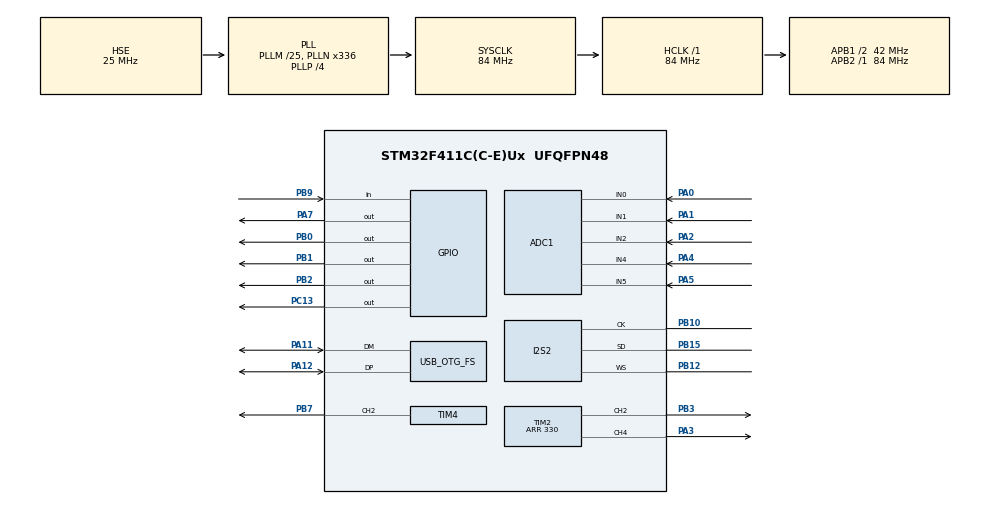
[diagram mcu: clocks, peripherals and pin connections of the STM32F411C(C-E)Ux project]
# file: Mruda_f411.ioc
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ADC1.Channel-0\#ChannelRegularConversion=ADC_CHANNEL_0
ADC1.Channel-1\#ChannelRegularConversion=ADC_CHANNEL_1
ADC1.Channel-2\#ChannelRegularConversion=ADC_CHANNEL_2
ADC1.Channel-3\#ChannelRegularConversion=ADC_CHANNEL_5
ADC1.ContinuousConvMode=ENABLE
ADC1.DMAContinuousRequests=ENABLE
ADC1.NbrOfConversion=4
ADC1.NbrOfConversionFlag=1
ADC1.Rank-0\#ChannelRegularConversion=1
ADC1.Rank-1\#ChannelRegularConversion=2
ADC1.Rank-2\#ChannelRegularConversion=3
ADC1.Rank-3\#ChannelRegularConversion=4
ADC1.SamplingTime-0\#ChannelRegularConversion=ADC_SAMPLETIME_3CYCLES
ADC1.SamplingTime-1\#ChannelRegularConversion=ADC_SAMPLETIME_3CYCLES
ADC1.SamplingTime-2\#ChannelRegularConversion=ADC_SAMPLETIME_3CYCLES
ADC1.SamplingTime-3\#ChannelRegularConversion=ADC_SAMPLETIME_28CYCLES
ADC1.master=1
Dma.ADC1.1.Direction=DMA_PERIPH_TO_MEMORY
Dma.ADC1.1.FIFOMode=DMA_FIFOMODE_DISABLE
Dma.ADC1.1.Instance=DMA2_Stream0
Dma.ADC1.1.MemDataAlignment=DMA_MDATAALIGN_HALFWORD
Dma.ADC1.1.MemInc=DMA_MINC_ENABLE
Dma.ADC1.1.Mode=DMA_CIRCULAR
Dma.ADC1.1.PeriphDataAlignment=DMA_PDATAALIGN_HALFWORD
Dma.ADC1.1.PeriphInc=DMA_PINC_DISABLE
Dma.ADC1.1.Priority=DMA_PRIORITY_LOW
Dma.Request0=SPI2_TX
Dma.Request1=ADC1
Dma.SPI2_TX.0.Direction=DMA_MEMORY_TO_PERIPH
Dma.SPI2_TX.0.FIFOMode=DMA_FIFOMODE_DISABLE
Dma.SPI2_TX.0.Instance=DMA1_Stream4
Dma.SPI2_TX.0.MemDataAlignment=DMA_MDATAALIGN_HALFWORD
Dma.SPI2_TX.0.MemInc=DMA_MINC_ENABLE
Dma.SPI2_TX.0.Mode=DMA_CIRCULAR
Dma.SPI2_TX.0.PeriphDataAlignment=DMA_PDATAALIGN_HALFWORD
Dma.SPI2_TX.0.PeriphInc=DMA_PINC_DISABLE
Dma.SPI2_TX.0.Priority=DMA_PRIORITY_HIGH
I2S2.AudioFreq=I2S_AUDIOFREQ_22K
I2S2.ErrorAudioFreq=0.0 %
I2S2.FullDuplexMode=I2S_FULLDUPLEXMODE_DISABLE
I2S2.Instance=SPI$Index
I2S2.RealAudioFreq=22.0 KHz
I2S2.Standard=I2S_STANDARD_MSB
I2S2.VirtualMode=I2S_MODE_MASTER
Mcu.Family=STM32F4
Mcu.Name=STM32F411C(C-E)Ux
Mcu.Package=UFQFPN48
NVIC.DMA1_Stream4_IRQn=true\:0\:0\:false\:false\:true\:false\:true\:true
NVIC.DMA2_Stream0_IRQn=true\:0\:0\:false\:false\:true\:false\:true\:true
NVIC.OTG_FS_IRQn=true\:0\:0\:false\:false\:true\:false\:true\:true
NVIC.PriorityGroup=NVIC_PRIORITYGROUP_4
PA0-WKUP.Signal=ADCx_IN0
PA1.Signal=ADCx_IN1
PA11.Mode=Device_Only
PA11.Signal=USB_OTG_FS_DM
PA12.Mode=Device_Only
PA12.Signal=USB_OTG_FS_DP
PA2.Signal=ADCx_IN2
PA3.Signal=S_TIM2_CH4
PA4.Signal=ADCx_IN4
PA5.Signal=ADCx_IN5
PA7.Signal=GPIO_Output
PB0.Signal=GPIO_Output
PB1.Signal=GPIO_Output
PB10.Mode=Half_Duplex_Master
PB10.Signal=I2S2_CK
PB12.Mode=Half_Duplex_Master
PB12.Signal=I2S2_WS
PB15.Mode=Half_Duplex_Master
PB15.Signal=I2S2_SD
PB2.Signal=GPIO_Output
PB3.Signal=S_TIM2_CH2
PB6.Signal=S_TIM4_CH1
PB7.Signal=S_TIM4_CH2
PB9.GPIO_PuPd=GPIO_PULLUP
PB9.Signal=GPIO_Input
PC13-ANTI_TAMP.Signal=GPIO_Output
PH0\ -\ OSC_IN.Mode=HSE-External-Oscillator
PH0\ -\ OSC_IN.Signal=RCC_OSC_IN
PH1\ -\ OSC_OUT.Mode=HSE-External-Oscillator
PH1\ -\ OSC_OUT.Signal=RCC_OSC_OUT
ProjectManager.HeapSize=0x200
ProjectManager.StackSize=0x400
ProjectManager.TargetToolchain=STM32CubeIDE
RCC.48MHZClocksFreq_Value=48000000
RCC.AHBFreq_Value=84000000
RCC.APB1CLKDivider=RCC_HCLK_DIV2
RCC.APB1Freq_Value=42000000
RCC.APB1TimFreq_Value=84000000
RCC.APB2Freq_Value=84000000
RCC.APB2TimFreq_Value=84000000
RCC.CortexFreq_Value=84000000
RCC.HCLKFreq_Value=84000000
RCC.HSE_VALUE=25000000
RCC.HSI_VALUE=16000000
RCC.LSE_VALUE=32768
RCC.PLLI2SM=25
RCC.PLLI2SN=176
RCC.PLLM=25
RCC.PLLN=336
RCC.PLLP=RCC_PLLP_DIV4
RCC.PLLQ=7
RCC.SYSCLKFreq_VALUE=84000000
RCC.SYSCLKSource=RCC_SYSCLKSOURCE_PLLCLK
RCC.VCOOutputFreq_Value=336000000
SH.ADCx_IN0.0=ADC1_IN0,IN0
SH.ADCx_IN1.0=ADC1_IN1,IN1
SH.ADCx_IN2.0=ADC1_IN2,IN2
SH.ADCx_IN4.0=ADC1_IN4,IN4
SH.ADCx_IN5.0=ADC1_IN5,IN5
SH.S_TIM2_CH2.0=TIM2_CH2,PWM Generation2 CH2
SH.S_TIM2_CH4.0=TIM2_CH4,PWM Generation4 CH4
SH.S_TIM4_CH1.0=TIM4_CH1
SH.S_TIM4_CH2.0=TIM4_CH2,PWM Generation2 CH2
TIM2.Channel-PWM\ Generation2\ CH2=TIM_CHANNEL_2
TIM2.Channel-PWM\ Generation4\ CH4=TIM_CHANNEL_4
TIM2.Period=330
TIM2.Pulse-PWM\ Generation4\ CH4=165
TIM3.AutoReloadPreload=TIM_AUTORELOAD_PRELOAD_ENABLE
TIM3.Prescaler=83
TIM4.AutoReloadPreload=TIM_AUTORELOAD_PRELOAD_ENABLE
TIM4.Channel-PWM\ Generation2\ CH2=TIM_CHANNEL_2
TIM4.Period=840
TIM4.Pulse-PWM\ Generation2\ CH2=420
USB_DEVICE.CLASS_NAME_FS=HID
USB_DEVICE.VirtualMode=Hid
USB_DEVICE.VirtualModeFS=Hid_FS
USB_OTG_FS.VirtualMode=Device_Only
VP_TIM2_VS_ClockSourceINT.Mode=Internal
VP_TIM3_VS_ClockSourceINT.Mode=Internal
VP_USB_DEVICE_VS_USB_DEVICE_HID_FS.Mode=HID_FS
board=custom

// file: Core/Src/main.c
/* USER CODE BEGIN Header */
/**
  ******************************************************************************
  * @file           : main.c
  * @brief          : Main program body
  ******************************************************************************
  * @attention
  *
  * Copyright (c) 2025 STMicroelectronics.
  * All rights reserved.
  *
  * This software is licensed under terms that can be found in the LICENSE file
  * in the root directory of this software component.
  * If no LICENSE file comes with this software, it is provided AS-IS.
  *
  ******************************************************************************
  */
/* USER CODE END Header */
#include "main.h"
#include "usb_device.h"

/* USER CODE BEGIN Includes */
#include "usbd_hid.h"
#include "math.h"
#include "tm1637.h"
#include <stdio.h>
/* USER CODE END Includes */

ADC_HandleTypeDef hadc1;
DMA_HandleTypeDef hdma_adc1;

I2S_HandleTypeDef hi2s2;
DMA_HandleTypeDef hdma_spi2_tx;

TIM_HandleTypeDef htim2;
TIM_HandleTypeDef htim3;
TIM_HandleTypeDef htim4;

/* USER CODE BEGIN PV */

extern USBD_HandleTypeDef hUsbDeviceFS;
//to do
// implement preset sounds and paramater to preset only <-------5
// apply sustin function user config  <--------3 done
// apply midi  <--------4
// add timber variation as pressure increases   <--------1 cancell
// dedicated and fixed sound/table for tanpura sound    <--------2 done
// volume button:      <-------done
//autoreack :    <----- done (remove function key weird noise bug)

//modification made
// only one sample for measure touch poition, eliminated strange sound while
// quickly releasing any key
// scanning stra

//parameters

float p_volume= 0.00005;
float vol_knob=0;

float p_expo= 1.35;
float p_expo_val[5]={1.1,1.25,1.34,1.55,1.7};
int8_t p_expo_ind=3;
uint8_t p_transpose=0;
float p_tune=0;

#define SAMPLE_RATE 22007  // Sample rate (Hz)
#define TWOPI       360.0f
#define BUFFER_SIZE 512

#define S0_pin GPIO_PIN_2
#define S0_port GPIOB

#define S1_pin GPIO_PIN_1
#define S1_port GPIOB

#define S2_pin GPIO_PIN_0
#define S2_port GPIOB

#define S3_pin GPIO_PIN_7
#define S3_port GPIOA

#define poly_phony 3
#define phase_v 0.0163257146

const float preset[1][20]={
{0.15,0.15,0.1,0.1,0.07,  0.03,0.015,0.02,0.005,  0.01,0,0.005,0,0.005,  0,0.005,0,0,0,0}
};
uint8_t preset_sel=1;

const float drone_vol_lookup[11] = {
    0.0000, // x = 0
    0.0059, // x = 1
    0.0167, // x = 2
    0.0311, // x = 3
    0.0485, // x = 4
    0.0685, // x = 5
    0.0907, // x = 6
    0.1147, // x = 7
    0.1404, // x = 8
    0.1676, // x = 9
    0.3000  // x = 10
};

float f1 =138.0 ;
float vol[5], vol_old[5];
float PHASE_INC[5] ={0.40896,0.40896,0.40896,0.40896,0.40896};

//base wave generation
int16_t sine_data[721];
int16_t sine_data_tanpura[721];
float amp[25];

volatile float pval=0;
volatile float feedback=0.2;

float p[5] = {0.0f,0.0f,0.0f,0.0f,0.0f};
volatile uint64_t t1,t2,t3,dt;

int16_t buffer0[BUFFER_SIZE];
int8_t data_ready_flag=0;

uint16_t adc_dma_buffer[16];
uint16_t adc_val[20];
uint16_t adc1_val[8];
uint16_t adc2_val[8];
uint16_t adc3_val[8];

float touch[50],touch_cal[50],touch_p[50];

//drone related
uint16_t drone_t=0;
float drone_sa=0;
float drone_pa=0;
float drone_vol=0.04;
int8_t drone_vol_level=5;
float drone_vol_raw=0.0;
float drone_sa_key=27;
float drone_pa_key=22;

float drone_sa_freq=0;
float drone_pa_freq=0;

float transpose=0;
float f_tune=0;
float octave=0;

uint8_t drone_flag=0;
uint8_t snap_flag=0;

uint8_t function_flag;
uint16_t function_t;
//temp variable

int8_t touch_flag[poly_phony], touch_flag_old[poly_phony], release_flag[poly_phony], mux_sel;
int8_t mux_inc=1;

float touch_position[poly_phony],touch_position_old[poly_phony];
float touch_amp[poly_phony],touch_amp_old[poly_phony];

float key[poly_phony], key_refined[poly_phony],key_snap[poly_phony],key_snap_pos[poly_phony];
float key_freq[poly_phony], key_diff[poly_phony], key_play[poly_phony],key_play_old[poly_phony], key_play_freq[poly_phony];
float key_trans[poly_phony];
float key_out[poly_phony];

uint8_t peak[3];
float peak_amp[3];
float peak_pos[3];
float peak_pos_old[3];
float peak_pos_track[3];
float peak_amp_track[3];

uint32_t seed = 1234;
float rand_f=0;

//sound table gen
float ST_expo=0;
float ST_expo_val[10]={0,-0.2,-0.6,-0.8,-1,-1.2,-1.4,-1.6,-1.8,-2};
uint8_t ST_exp_ind=0;

float OE_dist=1;
float OE_dist_val[10]={4,3,2.5,2,1.5,1,0.66,0.5,0.2,0.33};
uint8_t OE_dist_ind=5;

float octave_mix=0;
float octave_mix_val[10]={0,15,30,45,60,75,90,105,120,135};
uint8_t octave_mix_ind=0;

int16_t reverb_buf[4001];
float reverb_weight[8]={0.2,0.18,0.15,0.13,0.11,0.09,0.07,0.05};
int32_t reverb_ind=0;

float reverb_val[10]={0,0.03,0.1,0.171,0.273,0.39,0.523,0.669,0.83,0.98};
float reverb_val1,reverb_val2;
int16_t reverb_user_ind=4;

float snap_flag_val[5]={0,0.002,0.005,0.01,0.02};
float snap_flag_multiplier;

// --- All-pass filter setup ---
#define AP1_DELAY 117
#define AP2_DELAY 73
#define AP_GAIN   0.7f

int16_t ap_buf1[AP1_DELAY] = {0};
int16_t ap_buf2[AP2_DELAY] = {0};
int ap_idx1 = 0, ap_idx2 = 0;
float ap_last1 = 0, ap_last2 = 0;

int8_t midi_flag=0;
int16_t midi_snap, midi_pres, midi_key_status;
float midi_bend;
uint8_t midi1_vol;

//autitune
float smoothed_play[3] = {0};
float key_error[3];

float t_samp_old;
//temp
float t_max=0;
volatile uint32_t sysclk_freq = 0;
volatile uint32_t hclk_freq = 0;
volatile uint32_t pclk1_freq = 0;
volatile uint32_t pclk2_freq = 0;
volatile uint32_t i2s_clock_freq = 0;
float temp_amp[25];

/* USER CODE END PV */

void SystemClock_Config(void);
static void MX_GPIO_Init(void);
static void MX_DMA_Init(void);
static void MX_ADC1_Init(void);
static void MX_I2S2_Init(void);
static void MX_TIM2_Init(void);
static void MX_TIM3_Init(void);
static void MX_TIM4_Init(void);
/* USER CODE BEGIN PFP */

void set_mux(uint8_t ch) {
    if (ch > 15) return;

    HAL_GPIO_WritePin(S0_port, S0_pin, (ch >> 0) & 0x01);
    HAL_GPIO_WritePin(S1_port, S1_pin, (ch >> 1) & 0x01);
    HAL_GPIO_WritePin(S2_port, S2_pin, (ch >> 2) & 0x01);
    HAL_GPIO_WritePin(S3_port, S3_pin, (ch >> 3) & 0x01);
}

float rand_float(void) {
	seed = 1664525 * seed + 1013904223;

	    // Map 31-bit int to float in [-1.0, 1.0]
	    int32_t signed_val = (int32_t)(seed >> 1); // 31-bit signed int
	    // Multiply by precomputed constant
	    return signed_val * 0.00000000093132257f; // ≈ 1 / (2^30 - 1)
}

int rand_int_16(void) {
    seed = 1664525 * seed + 1013904223;

    // Take lower 5 bits (0 to 31)
    int val = (int)(seed & 0x1F);  // 0 to 31
    return val - 16;                // -16 to 15
}

//-------------------------MIDI functions-----------------------------

void send_usb_midi_packet(uint8_t cin, uint8_t status, uint8_t data1, uint8_t data2) {
    uint8_t packet[4];
    packet[0] = (0x0 << 4) | (cin & 0x0F);  // Cable #0 + CIN
    packet[1] = status;
    packet[2] = data1;
    packet[3] = data2;
    USBD_HID_SendReport(&hUsbDeviceFS, packet, 4);
}

void midi_note_on(uint8_t note, uint8_t velocity) {
    send_usb_midi_packet(0x9, 0x90, note, velocity);  // CIN 0x9 = Note On
}

void midi_note_off(uint8_t note, uint8_t velocity) {
    send_usb_midi_packet(0x8, 0x80, note, velocity);  // CIN 0x8 = Note Off
}

void midi_pitch_bend(float semitones) {
    if (semitones > 12.0f) semitones = 12.0f;
    if (semitones < -12.0f) semitones = -12.0f;

    int32_t bend = 8192 + (int32_t)((semitones / 12.0f) * 8192.0f);
    if (bend < 0) bend = 0;
    if (bend > 16383) bend = 16383;

    uint8_t lsb = bend & 0x7F;
    uint8_t msb = (bend >> 7) & 0x7F;

    send_usb_midi_packet(0xE, 0xE0, lsb, msb);  // CIN 0xE = Pitch Bend
}

void midi_pressure(uint8_t note, uint8_t pressure) {
    send_usb_midi_packet(0xA, 0xA0, note, pressure);  // CIN 0xA = Poly Pressure
}
//---------------------------------------------------------------

void set_freq(){

	for(uint8_t i=0;i<3;i++){
		if(touch_flag[i]==1 && snap_flag>0){
			key[i]=peak_pos[i]+21-0.5; //sensing plate not on senter so 0.5
			key_trans[i]=key[i]+f_tune+transpose+octave;

			if(touch_flag_old[i]==0){
				key_snap[i]=round(key[i]); // only for functions
				smoothed_play[i]=0;
				key_error[i]=0;
			}

			//auto correct
			//if(smoothed_play[i]>0.5){smoothed_play[i]=0.5;}
			key_play[i]=key_trans[i]+smoothed_play[i];
			key_error[i]=key_play[i]-round(key_trans[i]);
			smoothed_play[i]-=snap_flag_multiplier*key_error[i];
			//if(key_error[i]<0.01){key_error[i]=0;}

			key_play[i]=0.95*key_play[i]+0.05*key_play_old[i];
			key_play_old[i]=key_play[i];

			key_play[i] = 440.0f * powf(1.0594630f, (key_play[i] - 48));
			PHASE_INC[i] =phase_v * key_play[i];
		}

		if(touch_flag[i]==1 && snap_flag==0){
					key_snap[i]=round(key[i]); // for function detect
					key[i]=peak_pos[i]+21-0.5; //sensing plate not on senter so 0.5

					key_play[i]=key[i]+f_tune+transpose+octave;
					//key_play[i]=key_play[i]*(1+0.001*rand_float());

					key_out[i]=key_play[i];
					key_play[i]=0.95*key_play[i]+0.05*key_play_old[i];

					key_play_old[i]=key_play[i];

					key_play[i] = 440.0f * powf(1.0594630f, (key_play[i] - 48));
					PHASE_INC[i] =phase_v * key_play[i];
				}
	}

	if(touch_flag[2]==1 && touch_flag_old[2]==0  && midi_key_status==0){
		midi_snap=21+round(key_out[2]);
	}
	if(touch_flag[2]==1 && midi_key_status==1){
		midi_bend=21+key_out[2]-(float)midi_snap;
	}

	if(midi_flag==1){
		float vol = touch_amp[2]*500.0;
		if (vol > 127) {vol = 127;}
		midi1_vol = (uint8_t)vol;

		if(touch_flag[2]==1 && touch_flag_old[2]==0 && midi_key_status==0){
			uint16_t vol= touch_amp[2]*500;
			midi_note_on(midi_snap,vol);
			midi_key_status=1;
		}

		if(touch_flag[2]==0 && touch_flag_old[2]==1 && midi_key_status==1){
			uint16_t vol= touch_amp[2]*500;
			midi_note_off(midi_snap, vol);
			midi_key_status=0;
		}

		if(touch_flag[2]==1){
			midi_pitch_bend(midi_bend);
			midi_pressure(midi_snap, vol);
		}
	}
}

/* USER CODE END PFP */

/* USER CODE BEGIN 0 */

//Fast sine calculation function
float sine (float angle)
  {
    int angle_int;
    angle=2.0*angle;
    angle_int=angle;
    return (sine_data[angle_int]);
  }

float sine_t (float angle)
  {
    int angle_int;
    angle=2.0*angle;
    angle_int=angle;
    return (sine_data_tanpura[angle_int]);
  }

//below two function provides arduino micros() equivalent
void DWT_Delay_Init(void) {
    CoreDebug->DEMCR |= CoreDebug_DEMCR_TRCENA_Msk;  // Enable DWT
    DWT->CYCCNT = 0;  // Reset counter
    DWT->CTRL |= DWT_CTRL_CYCCNTENA_Msk;  // Enable cycle counter
}

uint32_t micros(void) {
    uint32_t cycles = DWT->CYCCNT;
    return (uint32_t)((uint64_t)cycles * 1000000ULL / SystemCoreClock);
}

//to fill required buffer in ping pong way
void fill_buffer0(int16_t *buff, uint16_t size){

    t1=micros();
    for (int i=0; i < size; i+=2) {

    	for(uint8_t i=0;i<3;i++){
    		vol[i]=0.1f*vol[i]+0.9f*vol_old[i];
    		vol_old[i]=vol[i];
    	}

    	vol[3]=0.004f*vol[3]+0.996f*vol_old[3];
    	vol_old[3]=vol[3];

    	vol[4]=0.004f*vol[4]+0.996f*vol_old[4];
    	vol_old[4]=vol[4];

	   float t_samp_rev=	vol[0]*sine(p[0])+
							vol[1]*sine(p[1])+
							vol[2]*sine(p[2]);

	   float t_samp=	t_samp_rev+
						vol[3]*sine_t(p[3])+
						vol[4]*sine_t(p[4]);

        // Increment and wrap phase
        p[0] += PHASE_INC[0];
			if (p[0] >= TWOPI)
				p[0] -= TWOPI;

        p[1] += PHASE_INC[1];
            if (p[1] >= TWOPI)
            	p[1] -= TWOPI;

        p[2] += PHASE_INC[2];
            if (p[2] >= TWOPI)
            	p[2] -= TWOPI;

        p[3] += PHASE_INC[3];
            if (p[3] >= TWOPI)
                p[3] -= TWOPI;

        p[4] += PHASE_INC[4];
            if (p[4] >= TWOPI)
                p[4] -= TWOPI;

            //rand_f=rand_float();
        //buff[i] = (int16_t)t_samp;

            reverb_buf[reverb_ind] = (int16_t)t_samp_rev;

            //revern using prime samples to avoid ringing
            int16_t rev_delay_chan[8]={503,1079,1499,2111,2503,3067,3547,3989};
            int16_t rev_delay_ind=0;
            float rev_sample=0;

            for(int i=0;i<8;i++){
            	rev_delay_ind= reverb_ind-rev_delay_chan[i];
            	if(rev_delay_ind<0){rev_delay_ind=rev_delay_ind+4000;}
            	rev_sample+=(float)reverb_buf[rev_delay_ind];
            }
            rev_sample=rev_sample*0.125f;

            reverb_ind++;
            if(reverb_ind>=4000){reverb_ind=0;}

            float input_sample=rev_sample;
//            // --- First all-pass filter ---
            float ap_delayed1 = (float)ap_buf1[ap_idx1];
            float ap_output1 = -AP_GAIN * input_sample + ap_delayed1 + AP_GAIN * ap_last1;
            ap_buf1[ap_idx1] = (int16_t)input_sample;
            ap_idx1 = (ap_idx1 + 1) % AP1_DELAY;
            ap_last1 = ap_output1;

            // --- Second all-pass filter ---
//            float ap_delayed2 = (float)ap_buf2[ap_idx2];
//            float ap_output2 = -AP_GAIN * ap_output1 + ap_delayed2 + AP_GAIN * ap_last2;
//            ap_buf2[ap_idx2] = (int16_t)ap_output1;
//            ap_idx2 = (ap_idx2 + 1) % AP2_DELAY;
//            ap_last2 = ap_output2;

            // --- Store diffused signal in reverb buffer ---

           // reverb_buf[reverb_ind]= (int16_t)t_samp_rev;

            rev_sample=ap_output1;

        // its only working on stereo mode, so copying to every other value

            //final buffers
            t_samp=reverb_val2* t_samp+reverb_val1*rev_sample;
            buff[i] = (int16_t)t_samp;
            buff[i+1] = buff[i];

    }
    t2=micros();
}

void HAL_I2S_TxHalfCpltCallback(I2S_HandleTypeDef *hi2s) {

    fill_buffer0(buffer0, BUFFER_SIZE / 2);  // Fill first half
}

void HAL_I2S_TxCpltCallback(I2S_HandleTypeDef *hi2s) {
    fill_buffer0(buffer0 + BUFFER_SIZE/2, BUFFER_SIZE / 2);  // Fill second half

}

void HAL_ADC_ConvCpltCallback(ADC_HandleTypeDef* hadc){

	for(int i=0;i<16;i++){
	adc_val[i]=adc_dma_buffer[i];
	}

//	for(int i=0;i<5;i++){
//		adc1_val[i]=adc_dma_buffer[i*4];
//		adc2_val[i]=adc_dma_buffer[4*i+1];
//		adc2_val[i]=adc_dma_buffer[4*i+2];
//	}
}

void amp_setup(){

	float total_amp=0;

	for(int k=0;k<20;k++){
		amp[k+1]=preset[0][k];

	}

	//expo evelope
	for(int i=0;i<20;i++){
		amp[i+1]=amp[i+1]*powf(i+1,ST_expo);
	}

	//OE_dist=1.1;
	for(int i=1;i<11;i++){
	    amp[2*i] = amp[2*i] * OE_dist;     // Even harmonic gets boosted
	    amp[2*i-1]  = amp[2*i-1] / OE_dist;     // Odd harmonic gets reduced
	}

	//octave_mix=50;
	for(int i=0;i<19;i++){
		amp[i+1]=amp[i+1]+(octave_mix/100)*amp[i+2];
		amp[i+1]=amp[i+1]*(1.0f + cosf( 3.141592f* (i+1) / 20));
	}

	// normalising amplitudes
	for(int i=0;i<20;i++){
		total_amp=total_amp+amp[i+1];
	}

	for(int i=0;i<20;i++){
	    		amp[i+1]=amp[i+1]/total_amp;
	    	}

	for(int i=0;i<20;i++){
		temp_amp[i+1]=amp[i+1];
	}

}

void Creat_sine_table(int16_t* sin_table, uint8_t preset_type){
	//generate a base waveform that is combination of its harmonics

	//creating table
    for(int i=0;i<721;i++)
      {	float temp1;
      	float temp_data=720;
      	temp_data=6.2831853/temp_data;

    	temp1=  amp[1]*sinf(1*i*temp_data)	+amp[2]*sinf(2*i*temp_data)+
    			amp[3]*sinf(3*i*temp_data)	+amp[4]*sinf(4*i*temp_data)+
				amp[5]*sinf(5*i*temp_data)	+amp[6]*sinf(6*i*temp_data)+
				amp[7]*sinf(7*i*temp_data)	+amp[8]*sinf(8*i*temp_data)+
				amp[9]*sinf(9*i*temp_data)	+amp[10]*sinf(10*i*temp_data)+
				amp[11]*sinf(11*i*temp_data)	+amp[12]*sinf(12*i*temp_data)+
				amp[13]*sinf(13*i*temp_data)	+amp[14]*sinf(14*i*temp_data)+
				amp[15]*sinf(15*i*temp_data)	+amp[16]*sinf(16*i*temp_data)+
				amp[17]*sinf(17*i*temp_data)	+amp[18]*sinf(18*i*temp_data)+
				amp[19]*sinf(19*i*temp_data)	+amp[20]*sinf(20*i*temp_data);
    	//0.1*3.14159265/180=0.00174532925

      //temp1=sin(i*0.1*3.14159265/180);
      //sine_data[i]=temp1*32767.0f;
    	sin_table[i]=(int)(temp1 * 32000.0f);

      //set_freq();
      };
}

float parabolic_fit(uint8_t index){

	float y0 = touch_p[index - 1];
	float y1 = touch_p[index];
	float y2 = touch_p[index + 1];

	    touch_amp[0]=y0+y1+y2;
	    float denominator = 2.0f * (y0 - 2.0f * y1 + y2);
	    float delta = (y0 - y2) / denominator;
	    delta=delta+(float)index;

	    return delta;
}

void touch_estimate()
{
	for(int i=0;i<48;i++){
		touch_p[i]=touch[i]-touch_cal[i]+20;
	}

	uint8_t temp_indice=0;

	for(uint8_t i=1;i<47;i++){
		if(touch_p[i-1]<touch_p[i] && touch_p[i+1]<touch_p[i] && touch_p[i]>160)
		{

			peak[temp_indice]=i;
			peak_amp[temp_indice]=touch_p[i]+touch_p[i-1]+touch_p[i+1];
			peak_pos[temp_indice]=parabolic_fit(i);
			temp_indice++;
			if(temp_indice==3){break;}
		}
	}

	float midi_amp1, midi_pos1;
	if(midi_flag==1){
		midi_amp1=peak_amp[0];
		midi_pos1=peak_pos[0];
		peak_amp[1]=0;
		peak_amp[2]=0;
	}

	for (uint8_t k = temp_indice; k < 3; k++) {
	    peak_pos[k] = 0;
	    peak_amp[k] = 0;
	}

	//track

	uint8_t used_new[3] = {0};   // Tracks which new peaks were matched
	uint8_t used_old[3] = {0};   // Tracks which old peaks were matched

	for (uint8_t i = 0; i < 3; i++) {
	    for (uint8_t j = 0; j < 3; j++) {
	        float diff = fabsf(peak_pos_old[i] - peak_pos[j]);
	        if (diff < 0.75f && !used_old[i] && !used_new[j]) {
	            peak_pos_track[i] = peak_pos[j];
	            peak_amp_track[i] = peak_amp[j];
	            used_old[i] = 1;
	            used_new[j] = 1;
	            break;
	        }
	    }
	}

	// Second pass: Fill in unmatched old indices with any unused new values
	for (uint8_t i = 0; i < 3; i++) {
	    if (!used_old[i]) {
	        for (uint8_t j = 0; j < 3; j++) {
	            if (!used_new[j]) {
	                peak_pos_track[i] = peak_pos[j];
	                peak_amp_track[i] = peak_amp[j];
	                used_old[i] = 1;
	                used_new[j] = 1;
	                break;
	            }
	        }
	    }
	}

	// Update peak_pos and peak_pos_old for next frame
	for (uint8_t i = 0; i < 3; i++) {
	    peak_pos[i] = peak_pos_track[i];
	    peak_amp[i] = peak_amp_track[i];
	    peak_pos_old[i] = peak_pos[i];

	    touch_flag_old[i]=touch_flag[i];
	    if(peak_pos[i]!=0){touch_flag[i]=1;}
	    else {touch_flag[i]=0;}
	}

// track ends

	if(midi_flag==1){
		peak_amp[2]=midi_amp1;
		peak_pos[2]=midi_pos1;
		peak_amp[1]=0;
		peak_amp[0]=0;
		peak_pos[1]=0;
		peak_pos[0]=0;
	}

	//touch position filer
	// amplitude fikter

	for(int i=0;i<3;i++){

		peak_pos[i]=0.5*peak_pos[i];

		//touch amplitude
		touch_amp[i]=peak_amp[i];
		    touch_amp[i]=touch_amp[i]*p_volume;
		    if(touch_amp[i]<0){touch_amp[i]=0;}
		    touch_amp[i]=powf(touch_amp[i],p_expo);

		    //filter
		    touch_amp[i]=0.8*touch_amp[i]+0.2*touch_amp_old[i];
		    vol[i]=touch_amp[i];

		    touch_amp_old[i]=touch_amp[i];

	}

	HAL_GPIO_WritePin(GPIOC, GPIO_PIN_13, !(touch_flag[0] || touch_flag[1] || touch_flag[2]));
}

void function_set(){

	//Drone on Off
	static uint8_t drone_latched = 0;
	if(function_flag==1 && key_snap[2]==43 && touch_amp[2]>0.02)
	{
		if (!drone_latched) {
			drone_flag = !drone_flag;
			drone_latched = 1;
			if(drone_flag==1){TM1637_SetColon(1);TM1637_DisplayString("drON");}
			if(drone_flag==0){TM1637_SetColon(1);TM1637_DisplayString("drOF");}
		}
	}
	else {drone_latched = 0;}

	//drone volume up
	static uint8_t drone_volp = 0;
	if(function_flag==1 && key_snap[2]==42 && touch_amp[2]>0.02)
	{
		if (!drone_volp) {

			drone_vol_level++;
			if(drone_vol_level>10){drone_vol_level=10;}
			drone_vol_raw=drone_vol_lookup[drone_vol_level];
			drone_vol=drone_vol_raw;

			char drone_buffer[8];  // 4 chars + null terminator
			snprintf(drone_buffer, sizeof(drone_buffer), "VO%d", drone_vol_level);
			TM1637_SetColon(1);
			TM1637_DisplayString(drone_buffer);

			drone_volp = 1;
		}
	}
	else {drone_volp = 0;}

	// drone vol down
	static uint8_t drone_voln = 0;
	if(function_flag==1 && key_snap[2]==41 && touch_amp[2]>0.02)
	{
		if (!drone_voln) {

			drone_vol_level--;
			if(drone_vol_level<0){drone_vol_level=0;}
			drone_vol_raw=drone_vol_lookup[drone_vol_level];
			drone_vol=drone_vol_raw;

			char drone_buffer[8];  // 4 chars + null terminator
			snprintf(drone_buffer, sizeof(drone_buffer), "VO%d", drone_vol_level);
			TM1637_SetColon(1);
			TM1637_DisplayString(drone_buffer);

			drone_voln = 1;
		}
	}
	else {drone_voln = 0;}

	//drone scale up
	static uint8_t drone_vscalp = 0;
	if(function_flag==1 && key_snap[2]==40 && touch_amp[2]>0.02)
	{
		if (!drone_vscalp) {

			drone_sa_key=1+drone_sa_key;if(drone_sa_key-27>8){drone_sa_key=8+27;}
			drone_pa_key=1+drone_pa_key;if(drone_pa_key-22>8){drone_pa_key=8+22;}

			drone_pa_freq=440.0f * powf(1.0594630f, (drone_sa_key - 48));
			drone_sa_freq=440.0f * powf(1.0594630f, (drone_pa_key - 48));

			PHASE_INC[3] =phase_v * drone_sa_freq;
		  	PHASE_INC[4] =phase_v * drone_pa_freq;

			int8_t fn_print=(int)drone_sa_key;
			char drone_buffer[8];  // 4 chars + null terminator
			snprintf(drone_buffer, sizeof(drone_buffer), "SC%d", fn_print-27);
			TM1637_SetColon(1);
			TM1637_DisplayString(drone_buffer);

			drone_vscalp = 1;
		}
	}
	else {drone_vscalp = 0;}

	// drone scale down
	static uint8_t drone_vscaln = 0;
	if(function_flag==1 && key_snap[2]==39 && touch_amp[2]>0.02)
	{
		if (!drone_vscaln) {

			drone_sa_key=drone_sa_key-1;if(drone_sa_key-27<-8){drone_sa_key=-8+27;}
			drone_pa_key=drone_pa_key-1;if(drone_pa_key-22<-8){drone_pa_key=-8+22;}

			drone_pa_freq=440.0f * powf(1.0594630f, (drone_sa_key - 48));
			drone_sa_freq=440.0f * powf(1.0594630f, (drone_pa_key - 48));

			PHASE_INC[3] =phase_v * drone_sa_freq;
			PHASE_INC[4] =phase_v * drone_pa_freq;

			int8_t fn_print=(int)drone_sa_key;
			char drone_buffer[8];  // 4 chars + null terminator
			snprintf(drone_buffer, sizeof(drone_buffer), "SC%d", fn_print-27);
			TM1637_SetColon(1);
			TM1637_DisplayString(drone_buffer);

			drone_vscaln = 1;
		}
	}
	else {drone_vscaln = 0;}

	// idewntify midi mode,
	// deactives all calculation related to sound synth,
	// three modes audio, MIDI standrd, MIDI MPE
	static uint8_t midi_s = 0;
	if(function_flag==1 && key_snap[2]==21 && touch_amp[2]>0.02)
	{
		if (!midi_s) {
			midi_flag++;
			if(midi_flag==3){midi_flag=0;}

			TM1637_SetColon(0);
			if(midi_flag==0) {
				HAL_I2S_DMAResume(&hi2s2);
				TM1637_DisplayString("AUd");
			}
			else if(midi_flag==1) {
				HAL_I2S_DMAPause(&hi2s2);
				TM1637_DisplayString("CH01");
			}

			else if(midi_flag==2) {
				TM1637_DisplayString("CH03");
			}
			midi_s = 1;
		}
	}
	else {midi_s = 0;}

	//transpose up
	static uint8_t transpose_u = 0;
	if(function_flag==1 && key_snap[2]==23 && touch_amp[2]>0.02)
	{
		if (!transpose_u) {

			transpose=transpose+1;
			if(transpose>11){transpose=11;}

			int8_t fn_print=(int)transpose;
			char drone_buffer[8];  // 4 chars + null terminator
			snprintf(drone_buffer, sizeof(drone_buffer), "SC%d", fn_print);
			TM1637_SetColon(1);
			TM1637_DisplayString(drone_buffer);

			transpose_u = 1;
		}
	}
	else {transpose_u = 0;}

	//transpose down
	static uint8_t transpose_d = 0;
	if(function_flag==1 && key_snap[2]==22 && touch_amp[2]>0.02)
	{
		if (!transpose_d) {

			transpose=transpose-1;
			if(transpose<-11){transpose=-11;}

			int8_t fn_print=(int)transpose;
			char drone_buffer[8];  // 4 chars + null terminator
			snprintf(drone_buffer, sizeof(drone_buffer), "SC%d", fn_print);
			TM1637_SetColon(1);
			TM1637_DisplayString(drone_buffer);

			transpose_d = 1;
		}
	}
	else {transpose_d = 0;}

	//octave up
	static uint8_t octave_u = 0;
	if(function_flag==1 && key_snap[2]==25 && touch_amp[2]>0.02)
	{
		if (!octave_u) {

			octave=octave+12;
			if(octave>49){octave=48;}

			int8_t fn_print=(int)(octave/12);
			char drone_buffer[8];  // 4 chars + null terminator
			snprintf(drone_buffer, sizeof(drone_buffer), "OC%d", fn_print);
			TM1637_SetColon(1);
			TM1637_DisplayString(drone_buffer);

			octave_u = 1;
		}
	}
	else {octave_u = 0;}

	//octave down
	static uint8_t octave_d = 0;
	if(function_flag==1 && key_snap[2]==24 && touch_amp[2]>0.02)
	{
		if (!octave_d) {

			octave=octave-12;
			if(octave<-25){octave=-25;}

			int8_t fn_print=(int)(octave/12);
			char drone_buffer[8];  // 4 chars + null terminator
			snprintf(drone_buffer, sizeof(drone_buffer), "OC%d", fn_print);
			TM1637_SetColon(1);
			TM1637_DisplayString(drone_buffer);

			octave_d = 1;
		}
	}
	else {octave_d = 0;}

	//tune up
	static uint8_t tune_u = 0;
	if(function_flag==1 && key_snap[2]==27 && touch_amp[2]>0.02)
	{
		if (!tune_u) {

			f_tune=f_tune+0.01;
			drone_sa_key=drone_sa_key+f_tune;
			drone_pa_key=drone_pa_key+f_tune;
			if(f_tune>0.5){f_tune=0.5;}

			int8_t fn_print=(int)(f_tune*100.0f);
			char drone_buffer[8];  // 4 chars + null terminator
			snprintf(drone_buffer, sizeof(drone_buffer), "t%d", fn_print);
			TM1637_SetColon(0);
			TM1637_DisplayString(drone_buffer);

			tune_u = 1;
		}
	}
	else {tune_u = 0;}

	//tune down
	static uint8_t tune_d = 0;
	if(function_flag==1 && key_snap[2]==26 && touch_amp[2]>0.02)
	{
		if (!tune_d) {

			f_tune=f_tune-0.01;
			drone_sa_key=drone_sa_key+f_tune;
			drone_pa_key=drone_pa_key+f_tune;
			if(f_tune<-0.5){f_tune=-0.5;}

			int8_t fn_print=(int)(f_tune*100.0f);
			char drone_buffer[8];  // 4 chars + null terminator
			snprintf(drone_buffer, sizeof(drone_buffer), "t%d", fn_print);
			TM1637_SetColon(0);
			TM1637_DisplayString(drone_buffer);

			tune_d = 1;
		}
	}
	else {tune_d = 0;}

	//sens down
	static uint8_t sens_d = 0;
	if(function_flag==1 && key_snap[2]==29 && touch_amp[2]>0.02)
	{
		if (!sens_d) {

			p_expo_ind--;
			if(p_expo_ind<0){p_expo_ind=0;}
			p_expo=p_expo_val[p_expo_ind];

			int8_t fn_print=(int)(p_expo_ind);
			char drone_buffer[8];  // 4 chars + null terminator
			snprintf(drone_buffer, sizeof(drone_buffer), "SE%d", fn_print);
			TM1637_SetColon(1);
			TM1637_DisplayString(drone_buffer);

			sens_d = 1;
		}
	}
	else {sens_d = 0;}

	//sens up
	static uint8_t sens_u = 0;
	if(function_flag==1 && key_snap[2]==30 && touch_amp[2]>0.02)
	{
		if (!sens_u) {

			p_expo_ind++;
			if(p_expo_ind>4){p_expo_ind=5;}
			p_expo=p_expo_val[p_expo_ind];

			int8_t fn_print=(int)(p_expo_ind);
			char drone_buffer[8];  // 4 chars + null terminator
			snprintf(drone_buffer, sizeof(drone_buffer), "SE%d", fn_print);
			TM1637_SetColon(1);
			TM1637_DisplayString(drone_buffer);

			sens_u = 1;
		}
	}
	else {sens_u = 0;}

	//sound p1 down
		static uint8_t sound_p1_d = 0;
		if(function_flag==1 && key_snap[2]==32 && touch_amp[2]>0.02)
		{
			if (!sound_p1_d) {

				ST_exp_ind--;
				if(ST_exp_ind<0){ST_exp_ind=0;}
				ST_expo=ST_expo_val[ST_exp_ind];
				amp_setup();
				Creat_sine_table(sine_data,0);

				int8_t fn_print=(int)(ST_exp_ind);
				char drone_buffer[8];  // 4 chars + null terminator
				snprintf(drone_buffer, sizeof(drone_buffer), "P1%d", fn_print);
				TM1637_SetColon(1);
				TM1637_DisplayString(drone_buffer);

				sound_p1_d = 1;
			}
		}
		else {sound_p1_d = 0;}

	//sound p1 up
		static uint8_t sound_p1_u = 0;
		if(function_flag==1 && key_snap[2]==33 && touch_amp[2]>0.02)
		{
			if (!sound_p1_u) {

				ST_exp_ind++;
				if(ST_exp_ind>10){ST_exp_ind=10;}
				ST_expo=ST_expo_val[ST_exp_ind];
				amp_setup();
				Creat_sine_table(sine_data,0);

				int8_t fn_print=(int)(ST_exp_ind);
				char drone_buffer[8];  // 4 chars + null terminator
				snprintf(drone_buffer, sizeof(drone_buffer), "P1%d", fn_print);
				TM1637_SetColon(1);
				TM1637_DisplayString(drone_buffer);

				sound_p1_u = 1;
			}
		}
		else {sound_p1_u = 0;}

	//sound p2 down
		static uint8_t sound_p2_d = 0;
		if(function_flag==1 && key_snap[2]==34 && touch_amp[2]>0.02)
		{
			if (!sound_p2_d) {

				OE_dist_ind--;
				if(OE_dist_ind<0){OE_dist_ind=0;}
				OE_dist=OE_dist_val[OE_dist_ind];
				amp_setup();
				Creat_sine_table(sine_data,0);

				int8_t fn_print=(int)(OE_dist_ind);
				char drone_buffer[8];  // 4 chars + null terminator
				snprintf(drone_buffer, sizeof(drone_buffer), "P2%d", fn_print);
				TM1637_SetColon(1);
				TM1637_DisplayString(drone_buffer);

				sound_p2_d = 1;
			}
		}
		else {sound_p2_d = 0;}

	//sound p2 up
		static uint8_t sound_p2_u = 0;
		if(function_flag==1 && key_snap[2]==35 && touch_amp[2]>0.02)
		{
			if (!sound_p2_u) {

				OE_dist_ind++;
				if(OE_dist_ind>10){OE_dist_ind=10;}
				OE_dist=OE_dist_val[OE_dist_ind];
				amp_setup();
				Creat_sine_table(sine_data,0);

				int8_t fn_print=(int)(OE_dist_ind);
				char drone_buffer[8];  // 4 chars + null terminator
				snprintf(drone_buffer, sizeof(drone_buffer), "P2%d", fn_print);
				TM1637_SetColon(1);
				TM1637_DisplayString(drone_buffer);

				sound_p2_u = 1;
			}
		}
		else {sound_p2_u = 0;}

	//sound p3 down
		static uint8_t sound_p3_d = 0;
		if(function_flag==1 && key_snap[2]==36 && touch_amp[2]>0.02)
		{
			if (!sound_p3_d) {

				octave_mix_ind--;
				if(octave_mix_ind<0){octave_mix_ind=0;}
				octave_mix=octave_mix_val[octave_mix_ind];
				amp_setup();
				Creat_sine_table(sine_data,0);

				int8_t fn_print=(int)(octave_mix_ind);
				char drone_buffer[8];  // 4 chars + null terminator
				snprintf(drone_buffer, sizeof(drone_buffer), "P3%d", fn_print);
				TM1637_SetColon(1);
				TM1637_DisplayString(drone_buffer);

				sound_p3_d = 1;
			}
		}
		else {sound_p3_d = 0;}

	//sound p3 up
		static uint8_t sound_p3_u = 0;
		if(function_flag==1 && key_snap[2]==37 && touch_amp[2]>0.02)
		{
			if (!sound_p3_u) {

				octave_mix_ind++;
				if(octave_mix_ind>10){octave_mix_ind=10;}
				octave_mix=octave_mix_val[octave_mix_ind];
				amp_setup();
				Creat_sine_table(sine_data,0);

				int8_t fn_print=(int)(octave_mix_ind);
				char drone_buffer[8];  // 4 chars + null terminator
				snprintf(drone_buffer, sizeof(drone_buffer), "P3%d", fn_print);
				TM1637_SetColon(1);
				TM1637_DisplayString(drone_buffer);

				sound_p3_u = 1;
			}
		}
		else {sound_p3_u = 0;}

		//snap on off
			static uint8_t snap_f = 0;
			if(function_flag==1 && key_snap[2]==28 && touch_amp[2]>0.02)
			{
				if (!snap_f) {

						snap_flag++;
						if(snap_flag>5){snap_flag=0;}
						if(snap_flag !=0){
							snap_flag_multiplier=snap_flag_val[snap_flag];
						}

						int8_t fn_print=(int)(snap_flag);
						char drone_buffer[8];  // 4 chars + null terminator
						snprintf(drone_buffer, sizeof(drone_buffer), "AC%d", fn_print);
						TM1637_SetColon(1);
						TM1637_DisplayString(drone_buffer);

					snap_f = 1;
				}
			}
			else {snap_f = 0;}

			//reverb
			static uint8_t sound_reverb = 0;
			if(function_flag==1 && key_snap[2]==31 && touch_amp[2]>0.02)
			{
				if (!sound_reverb) {

					reverb_user_ind++;
					if(reverb_user_ind>9){reverb_user_ind=0;}
					reverb_val1=reverb_val[reverb_user_ind];
					reverb_val2=1-reverb_val1;

					int8_t fn_print=(int)(1+reverb_user_ind);
					char drone_buffer[8];  // 4 chars + null terminator
					snprintf(drone_buffer, sizeof(drone_buffer), "rE%d", fn_print);
					TM1637_SetColon(1);
					TM1637_DisplayString(drone_buffer);

					sound_reverb = 1;
				}
			}
			else {sound_reverb = 0;}

}

int avg_wo_min_max(int16_t *data, uint8_t len) {
    if (len < 5 || len > 8) return 0;  // invalid input

    int16_t min = data[0];
    int16_t max = data[0];
    int16_t sum = data[0];  // use 32-bit int to avoid overflow

    for (uint8_t i = 1; i < len; i++) {
        if (data[i] < min) min = data[i];
        if (data[i] > max) max = data[i];
        sum += data[i];
    }

    // Remove min and max from the sum
    sum -= min;
    sum -= max;

    // Return integer average of remaining values
    return sum*0.33f;
}

/* USER CODE END 0 */

int main(void)
{

  /* USER CODE BEGIN 1 */

	amp[1]=0.15;	amp[2]=0.15;	amp[3]=0.1;
	amp[4]=0.1; 	amp[5]=0.07;	amp[6]=0.03;
	amp[7]=0.015; 	amp[8]=0.020; 	amp[9]=0.005;
	amp[10]=0.01;	amp[11]=0.;		amp[12]=0.005;
	amp[13]=0.; 	amp[14]=0.005;	amp[15]=0.;
	amp[16]=0.005; 	amp[17]=0.;		amp[18]=0.00;
	amp[19]=0.00;	amp[20]=0.00;

	for(int k=0;k<20;k++){
		amp[k+1]=preset[0][k];
	}
	amp_setup();
	Creat_sine_table(sine_data,0);
	Creat_sine_table(sine_data_tanpura,0);

  /* USER CODE END 1 */

  /* MCU Configuration--------------------------------------------------------*/

  /* Reset of all peripherals, Initializes the Flash interface and the Systick. */
  HAL_Init();

  /* Configure the system clock */
  SystemClock_Config();

  /* Initialize all configured peripherals */
  MX_GPIO_Init();
  MX_DMA_Init();
  MX_ADC1_Init();
  MX_I2S2_Init();
  MX_TIM2_Init();
  MX_TIM3_Init();
  MX_TIM4_Init();
  MX_USB_DEVICE_Init();
  /* USER CODE BEGIN 2 */

  TM1637_Init();
  TM1637_DisplayString("CAL-");
  HAL_Delay(50);
  HAL_TIM_PWM_Start(&htim4, TIM_CHANNEL_2);
  HAL_TIM_Base_Start(&htim3);
  HAL_TIM_PWM_Start(&htim2, TIM_CHANNEL_4);

  __HAL_TIM_SET_COMPARE(&htim2, TIM_CHANNEL_4, 225);

  HAL_ADC_Start_DMA(&hadc1, (uint32_t*)adc_dma_buffer, 16);

  DWT_Delay_Init();

  /* USER CODE END 2 */

  /* Infinite loop */
  /* USER CODE BEGIN WHILE */

  //HAL_I2S_Transmit_DMA(&hi2s2, (uint16_t*)sine_wave, TABLE_SIZE);
   HAL_I2S_Transmit_DMA(&hi2s2, (uint16_t*)buffer0, BUFFER_SIZE);
   mux_sel=5;
   // calibrate data
  HAL_Delay(50);

  for(int j=0;j<10;j++)
  {
 	 for(int i = 0; i < 16; i++){
 		 set_mux(i);HAL_Delay(2);
 		 touch_cal[i]	 =touch_cal[i]+ adc_val[2];
 		 touch_cal[i+16] =touch_cal[i+16]+ adc_val[1];
 		 touch_cal[i+32] =touch_cal[i+32]+ adc_val[0];
 	 }
  }

  for(int i = 0; i < 48; i++){
 	 seed=seed+touch_cal[i];
 	 touch_cal[i]= round(touch_cal[i]/10);
  }

  seed=seed*seed;

  HAL_Delay(50);
  TM1637_SetColon(0);
  TM1637_DisplayString("PLAY");

  drone_pa_freq=440.0f * powf(1.0594630f, (drone_sa_key - 48));
  drone_sa_freq=440.0f * powf(1.0594630f, (drone_pa_key - 48));

  PHASE_INC[3] =phase_v * drone_sa_freq;
  PHASE_INC[4] =phase_v * drone_pa_freq;
  reverb_val1=reverb_val[reverb_user_ind];
  reverb_val2=1-reverb_val1;

   uint32_t last_count = __HAL_TIM_GET_COUNTER(&htim3);

   sysclk_freq = HAL_RCC_GetSysClockFreq();
   hclk_freq = HAL_RCC_GetHCLKFreq();
   pclk1_freq = HAL_RCC_GetPCLK1Freq();
   pclk2_freq = HAL_RCC_GetPCLK2Freq();
   HAL_Delay(10);

  while (1)
  {

	    uint32_t now = __HAL_TIM_GET_COUNTER(&htim3);
	    set_mux(mux_sel);

	    if ((now - last_count) >= 800)
	    {
	        last_count = now;

	        		//meaure
	        	  touch[mux_sel] =  0.25f*(adc_val[2]+adc_val[6]+adc_val[10]+adc_val[14]);
	        	  touch[mux_sel+16]=0.25f*(adc_val[1]+adc_val[5]+adc_val[9]+adc_val[13]);
	        	  touch[mux_sel+32]=0.25f*(adc_val[0]+adc_val[4]+adc_val[8]+adc_val[12]);

//	        	  touch[mux_sel] =  adc_val[2];
//	        	  touch[mux_sel+16]=adc_val[1];
//	        	  touch[mux_sel+32]=adc_val[0];

	        	  //set mux for next measurement
	        	  mux_sel++;
	        	  set_mux(mux_sel);

	        	  //touch detect and tracj after comple scan
	        	  if(mux_sel>15){
	        		  mux_sel=0;

	        	  //touch detect and tracj after comple scan

	        		  touch_estimate();
	        		  vol_knob=(float)adc_val[3];
	        		  vol_knob=vol_knob/4095;
	        		  p_volume= 0.00008*vol_knob;
	        	  }

	        	  //calculates phase inc
	        	  set_freq();
	        	  dt=t2-t1;

	        	  //function key
	        	  if (HAL_GPIO_ReadPin(GPIOB, GPIO_PIN_9) == 0) { // Button pressed
	        	      function_t++;
	        	      if (function_t == 300) {  // Held for 200ms = 500ms if loop runs every 2.5ms (or adjust if 1ms)
	        	          function_flag = 1;   // Set flag once
	        	          TM1637_SetColon(0);
	        	          TM1637_DisplayString("FUNC");
	        	      }
	        	  } else {
	        	      function_t = 0; // Reset counter on release

					  if(function_flag == 1){
						  TM1637_SetColon(0);
						  TM1637_DisplayString("PLAY");}
					  function_flag = 0;
	        	      // Do NOT reset function_flag here if you want it to stay ON
	        	  }

	        	  //run functions
	        	  function_set();

	        	  if(drone_flag==1){
					  drone_t++;
					  if(drone_t>5000){drone_t=0;}
					  if(drone_t>0 && drone_t<600){drone_sa=1;drone_pa=0;}	  if(drone_t==600){drone_sa=0;drone_pa=0;}
					  if(drone_t>1000 && drone_t<1600){drone_sa=0;drone_pa=1;}if(drone_t==1600){drone_sa=0;drone_pa=0;}
					  if(drone_t>2000 && drone_t<2600){drone_sa=0;drone_pa=1;}if(drone_t==2600){drone_sa=0;drone_pa=0;}
					  if(drone_t>3000 && drone_t<3900){drone_sa=1;drone_pa=0;}if(drone_t==3900){drone_sa=0;drone_pa=0;}
					  drone_sa=drone_sa*drone_vol;
					  drone_pa=drone_pa*drone_vol;

					  vol[3]=drone_sa;
					  vol[4]=drone_pa;
	        	  }

	        	  else{
	        		  vol[3]=0;
	        		  vol[4]=0;
	        	  }

	    }

    /* USER CODE END WHILE */

  }
}

void SystemClock_Config(void)
{
  RCC_OscInitTypeDef RCC_OscInitStruct = {0};
  RCC_ClkInitTypeDef RCC_ClkInitStruct = {0};

  /** Configure the main internal regulator output voltage
  */
  __HAL_RCC_PWR_CLK_ENABLE();
  __HAL_PWR_VOLTAGESCALING_CONFIG(PWR_REGULATOR_VOLTAGE_SCALE1);

  /** Initializes the RCC Oscillators according to the specified parameters
  * in the RCC_OscInitTypeDef structure.
  */
  RCC_OscInitStruct.OscillatorType = RCC_OSCILLATORTYPE_HSE;
  RCC_OscInitStruct.HSEState = RCC_HSE_ON;
  RCC_OscInitStruct.PLL.PLLState = RCC_PLL_ON;
  RCC_OscInitStruct.PLL.PLLSource = RCC_PLLSOURCE_HSE;
  RCC_OscInitStruct.PLL.PLLM = 25;
  RCC_OscInitStruct.PLL.PLLN = 336;
  RCC_OscInitStruct.PLL.PLLP = RCC_PLLP_DIV4;
  RCC_OscInitStruct.PLL.PLLQ = 7;
  if (HAL_RCC_OscConfig(&RCC_OscInitStruct) != HAL_OK)
  {
    Error_Handler();
  }

  /** Initializes the CPU, AHB and APB buses clocks
  */
  RCC_ClkInitStruct.ClockType = RCC_CLOCKTYPE_HCLK|RCC_CLOCKTYPE_SYSCLK
                              |RCC_CLOCKTYPE_PCLK1|RCC_CLOCKTYPE_PCLK2;
  RCC_ClkInitStruct.SYSCLKSource = RCC_SYSCLKSOURCE_PLLCLK;
  RCC_ClkInitStruct.AHBCLKDivider = RCC_SYSCLK_DIV1;
  RCC_ClkInitStruct.APB1CLKDivider = RCC_HCLK_DIV2;
  RCC_ClkInitStruct.APB2CLKDivider = RCC_HCLK_DIV1;

  if (HAL_RCC_ClockConfig(&RCC_ClkInitStruct, FLASH_LATENCY_2) != HAL_OK)
  {
    Error_Handler();
  }
}

static void MX_ADC1_Init(void)
{

  ADC_ChannelConfTypeDef sConfig = {0};

  /** Configure the global features of the ADC (Clock, Resolution, Data Alignment and number of conversion)
  */
  hadc1.Instance = ADC1;
  hadc1.Init.ClockPrescaler = ADC_CLOCK_SYNC_PCLK_DIV4;
  hadc1.Init.Resolution = ADC_RESOLUTION_12B;
  hadc1.Init.ScanConvMode = ENABLE;
  hadc1.Init.ContinuousConvMode = ENABLE;
  hadc1.Init.DiscontinuousConvMode = DISABLE;
  hadc1.Init.ExternalTrigConvEdge = ADC_EXTERNALTRIGCONVEDGE_NONE;
  hadc1.Init.ExternalTrigConv = ADC_SOFTWARE_START;
  hadc1.Init.DataAlign = ADC_DATAALIGN_RIGHT;
  hadc1.Init.NbrOfConversion = 4;
  hadc1.Init.DMAContinuousRequests = ENABLE;
  hadc1.Init.EOCSelection = ADC_EOC_SINGLE_CONV;
  if (HAL_ADC_Init(&hadc1) != HAL_OK)
  {
    Error_Handler();
  }

  /** Configure for the selected ADC regular channel its corresponding rank in the sequencer and its sample time.
  */
  sConfig.Channel = ADC_CHANNEL_0;
  sConfig.Rank = 1;
  sConfig.SamplingTime = ADC_SAMPLETIME_3CYCLES;
  if (HAL_ADC_ConfigChannel(&hadc1, &sConfig) != HAL_OK)
  {
    Error_Handler();
  }

  /** Configure for the selected ADC regular channel its corresponding rank in the sequencer and its sample time.
  */
  sConfig.Channel = ADC_CHANNEL_1;
  sConfig.Rank = 2;
  if (HAL_ADC_ConfigChannel(&hadc1, &sConfig) != HAL_OK)
  {
    Error_Handler();
  }

  /** Configure for the selected ADC regular channel its corresponding rank in the sequencer and its sample time.
  */
  sConfig.Channel = ADC_CHANNEL_2;
  sConfig.Rank = 3;
  if (HAL_ADC_ConfigChannel(&hadc1, &sConfig) != HAL_OK)
  {
    Error_Handler();
  }

  /** Configure for the selected ADC regular channel its corresponding rank in the sequencer and its sample time.
  */
  sConfig.Channel = ADC_CHANNEL_5;
  sConfig.Rank = 4;
  sConfig.SamplingTime = ADC_SAMPLETIME_28CYCLES;
  if (HAL_ADC_ConfigChannel(&hadc1, &sConfig) != HAL_OK)
  {
    Error_Handler();
  }

}

static void MX_I2S2_Init(void)
{

  hi2s2.Instance = SPI2;
  hi2s2.Init.Mode = I2S_MODE_MASTER_TX;
  hi2s2.Init.Standard = I2S_STANDARD_MSB;
  hi2s2.Init.DataFormat = I2S_DATAFORMAT_16B;
  hi2s2.Init.MCLKOutput = I2S_MCLKOUTPUT_DISABLE;
  hi2s2.Init.AudioFreq = I2S_AUDIOFREQ_22K;
  hi2s2.Init.CPOL = I2S_CPOL_LOW;
  hi2s2.Init.ClockSource = I2S_CLOCK_PLL;
  hi2s2.Init.FullDuplexMode = I2S_FULLDUPLEXMODE_DISABLE;
  if (HAL_I2S_Init(&hi2s2) != HAL_OK)
  {
    Error_Handler();
  }

}

static void MX_TIM2_Init(void)
{

  TIM_ClockConfigTypeDef sClockSourceConfig = {0};
  TIM_MasterConfigTypeDef sMasterConfig = {0};
  TIM_OC_InitTypeDef sConfigOC = {0};

  htim2.Instance = TIM2;
  htim2.Init.Prescaler = 0;
  htim2.Init.CounterMode = TIM_COUNTERMODE_UP;
  htim2.Init.Period = 330;
  htim2.Init.ClockDivision = TIM_CLOCKDIVISION_DIV1;
  htim2.Init.AutoReloadPreload = TIM_AUTORELOAD_PRELOAD_DISABLE;
  if (HAL_TIM_Base_Init(&htim2) != HAL_OK)
  {
    Error_Handler();
  }
  sClockSourceConfig.ClockSource = TIM_CLOCKSOURCE_INTERNAL;
  if (HAL_TIM_ConfigClockSource(&htim2, &sClockSourceConfig) != HAL_OK)
  {
    Error_Handler();
  }
  if (HAL_TIM_PWM_Init(&htim2) != HAL_OK)
  {
    Error_Handler();
  }
  sMasterConfig.MasterOutputTrigger = TIM_TRGO_RESET;
  sMasterConfig.MasterSlaveMode = TIM_MASTERSLAVEMODE_DISABLE;
  if (HAL_TIMEx_MasterConfigSynchronization(&htim2, &sMasterConfig) != HAL_OK)
  {
    Error_Handler();
  }
  sConfigOC.OCMode = TIM_OCMODE_PWM1;
  sConfigOC.Pulse = 0;
  sConfigOC.OCPolarity = TIM_OCPOLARITY_HIGH;
  sConfigOC.OCFastMode = TIM_OCFAST_DISABLE;
  if (HAL_TIM_PWM_ConfigChannel(&htim2, &sConfigOC, TIM_CHANNEL_2) != HAL_OK)
  {
    Error_Handler();
  }
  sConfigOC.Pulse = 165;
  if (HAL_TIM_PWM_ConfigChannel(&htim2, &sConfigOC, TIM_CHANNEL_4) != HAL_OK)
  {
    Error_Handler();
  }
  HAL_TIM_MspPostInit(&htim2);

}

static void MX_TIM3_Init(void)
{

  TIM_ClockConfigTypeDef sClockSourceConfig = {0};
  TIM_MasterConfigTypeDef sMasterConfig = {0};

  htim3.Instance = TIM3;
  htim3.Init.Prescaler = 83;
  htim3.Init.CounterMode = TIM_COUNTERMODE_UP;
  htim3.Init.Period = 65535;
  htim3.Init.ClockDivision = TIM_CLOCKDIVISION_DIV1;
  htim3.Init.AutoReloadPreload = TIM_AUTORELOAD_PRELOAD_ENABLE;
  if (HAL_TIM_Base_Init(&htim3) != HAL_OK)
  {
    Error_Handler();
  }
  sClockSourceConfig.ClockSource = TIM_CLOCKSOURCE_INTERNAL;
  if (HAL_TIM_ConfigClockSource(&htim3, &sClockSourceConfig) != HAL_OK)
  {
    Error_Handler();
  }
  sMasterConfig.MasterOutputTrigger = TIM_TRGO_RESET;
  sMasterConfig.MasterSlaveMode = TIM_MASTERSLAVEMODE_DISABLE;
  if (HAL_TIMEx_MasterConfigSynchronization(&htim3, &sMasterConfig) != HAL_OK)
  {
    Error_Handler();
  }

}

static void MX_TIM4_Init(void)
{

  TIM_MasterConfigTypeDef sMasterConfig = {0};
  TIM_OC_InitTypeDef sConfigOC = {0};

  htim4.Instance = TIM4;
  htim4.Init.Prescaler = 0;
  htim4.Init.CounterMode = TIM_COUNTERMODE_UP;
  htim4.Init.Period = 840;
  htim4.Init.ClockDivision = TIM_CLOCKDIVISION_DIV1;
  htim4.Init.AutoReloadPreload = TIM_AUTORELOAD_PRELOAD_ENABLE;
  if (HAL_TIM_PWM_Init(&htim4) != HAL_OK)
  {
    Error_Handler();
  }
  sMasterConfig.MasterOutputTrigger = TIM_TRGO_RESET;
  sMasterConfig.MasterSlaveMode = TIM_MASTERSLAVEMODE_DISABLE;
  if (HAL_TIMEx_MasterConfigSynchronization(&htim4, &sMasterConfig) != HAL_OK)
  {
    Error_Handler();
  }
  sConfigOC.OCMode = TIM_OCMODE_PWM1;
  sConfigOC.Pulse = 420;
  sConfigOC.OCPolarity = TIM_OCPOLARITY_HIGH;
  sConfigOC.OCFastMode = TIM_OCFAST_DISABLE;
  if (HAL_TIM_PWM_ConfigChannel(&htim4, &sConfigOC, TIM_CHANNEL_2) != HAL_OK)
  {
    Error_Handler();
  }
  HAL_TIM_MspPostInit(&htim4);

}

static void MX_DMA_Init(void)
{

  /* DMA controller clock enable */
  __HAL_RCC_DMA1_CLK_ENABLE();
  __HAL_RCC_DMA2_CLK_ENABLE();

  /* DMA interrupt init */
  /* DMA1_Stream4_IRQn interrupt configuration */
  HAL_NVIC_SetPriority(DMA1_Stream4_IRQn, 0, 0);
  HAL_NVIC_EnableIRQ(DMA1_Stream4_IRQn);
  /* DMA2_Stream0_IRQn interrupt configuration */
  HAL_NVIC_SetPriority(DMA2_Stream0_IRQn, 0, 0);
  HAL_NVIC_EnableIRQ(DMA2_Stream0_IRQn);

}

static void MX_GPIO_Init(void)
{
  GPIO_InitTypeDef GPIO_InitStruct = {0};

  /* GPIO Ports Clock Enable */
  __HAL_RCC_GPIOC_CLK_ENABLE();
  __HAL_RCC_GPIOH_CLK_ENABLE();
  __HAL_RCC_GPIOA_CLK_ENABLE();
  __HAL_RCC_GPIOB_CLK_ENABLE();

  /*Configure GPIO pin Output Level */
  HAL_GPIO_WritePin(GPIOC, GPIO_PIN_13, GPIO_PIN_RESET);

  /*Configure GPIO pin Output Level */
  HAL_GPIO_WritePin(GPIOA, GPIO_PIN_7, GPIO_PIN_RESET);

  /*Configure GPIO pin Output Level */
  HAL_GPIO_WritePin(GPIOB, GPIO_PIN_0|GPIO_PIN_1|GPIO_PIN_2, GPIO_PIN_RESET);

  /*Configure GPIO pin : PC13 */
  GPIO_InitStruct.Pin = GPIO_PIN_13;
  GPIO_InitStruct.Mode = GPIO_MODE_OUTPUT_PP;
  GPIO_InitStruct.Pull = GPIO_NOPULL;
  GPIO_InitStruct.Speed = GPIO_SPEED_FREQ_LOW;
  HAL_GPIO_Init(GPIOC, &GPIO_InitStruct);

  /*Configure GPIO pin : PA7 */
  GPIO_InitStruct.Pin = GPIO_PIN_7;
  GPIO_InitStruct.Mode = GPIO_MODE_OUTPUT_PP;
  GPIO_InitStruct.Pull = GPIO_NOPULL;
  GPIO_InitStruct.Speed = GPIO_SPEED_FREQ_LOW;
  HAL_GPIO_Init(GPIOA, &GPIO_InitStruct);

  /*Configure GPIO pins : PB0 PB1 PB2 */
  GPIO_InitStruct.Pin = GPIO_PIN_0|GPIO_PIN_1|GPIO_PIN_2;
  GPIO_InitStruct.Mode = GPIO_MODE_OUTPUT_PP;
  GPIO_InitStruct.Pull = GPIO_NOPULL;
  GPIO_InitStruct.Speed = GPIO_SPEED_FREQ_LOW;
  HAL_GPIO_Init(GPIOB, &GPIO_InitStruct);

  /*Configure GPIO pin : PB9 */
  GPIO_InitStruct.Pin = GPIO_PIN_9;
  GPIO_InitStruct.Mode = GPIO_MODE_INPUT;
  GPIO_InitStruct.Pull = GPIO_PULLUP;
  HAL_GPIO_Init(GPIOB, &GPIO_InitStruct);

}

void Error_Handler(void)
{
  __disable_irq();
  while (1)
  {
  }
}
